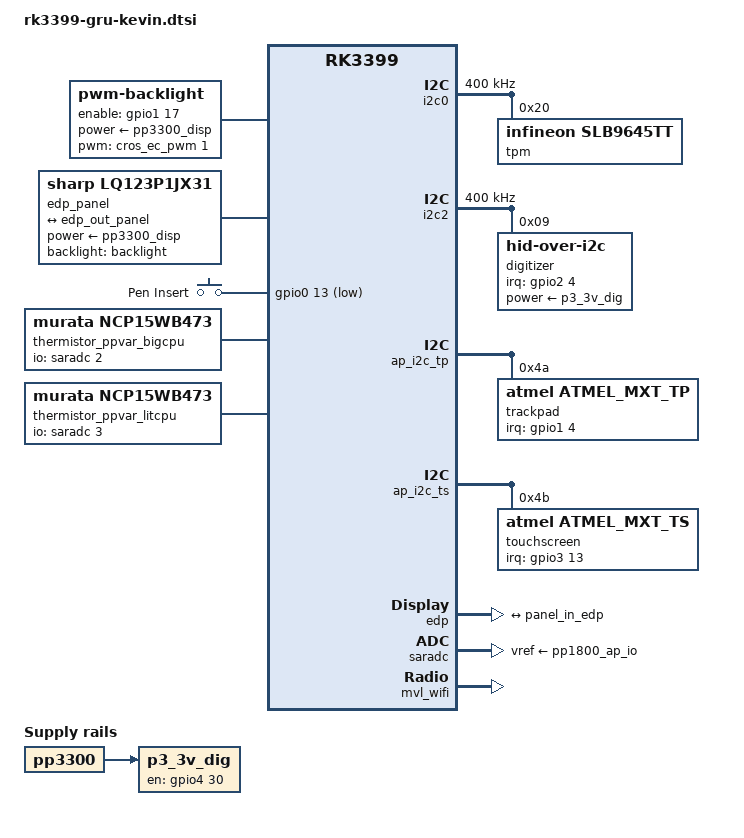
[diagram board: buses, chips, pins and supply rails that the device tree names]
/*
 * Google Gru-Kevin board device tree source
 *
 * Copyright 2016 Google, Inc
 *
 * This file should generally contain things related to the latest
 * revision of Kevin hardware that is not part of the gru base.
 * Revisions earlier than the latest should generally override
 * things that happen here on the presumption that support for
 * earlier versions will eventually be deleted.
 *
 * This file is dual-licensed: you can use it either under the terms
 * of the GPL or the X11 license, at your option. Note that this dual
 * licensing only applies to this file, and not this project as a
 * whole.
 *
 *  a) This file is free software; you can redistribute it and/or
 *     modify it under the terms of the GNU General Public License as
 *     published by the Free Software Foundation; either version 2 of the
 *     License, or (at your option) any later version.
 *
 *     This file is distributed in the hope that it will be useful,
 *     but WITHOUT ANY WARRANTY; without even the implied warranty of
 *     MERCHANTABILITY or FITNESS FOR A PARTICULAR PURPOSE.  See the
 *     GNU General Public License for more details.
 *
 *  Or, alternatively,
 *
 *  b) Permission is hereby granted, free of charge, to any person
 *     obtaining a copy of this software and associated documentation
 *     files (the "Software"), to deal in the Software without
 *     restriction, including without limitation the rights to use,
 *     copy, modify, merge, publish, distribute, sublicense, and/or
 *     sell copies of the Software, and to permit persons to whom the
 *     Software is furnished to do so, subject to the following
 *     conditions:
 *
 *     The above copyright notice and this permission notice shall be
 *     included in all copies or substantial portions of the Software.
 *
 *     THE SOFTWARE IS PROVIDED "AS IS", WITHOUT WARRANTY OF ANY KIND,
 *     EXPRESS OR IMPLIED, INCLUDING BUT NOT LIMITED TO THE WARRANTIES
 *     OF MERCHANTABILITY, FITNESS FOR A PARTICULAR PURPOSE AND
 *     NONINFRINGEMENT. IN NO EVENT SHALL THE AUTHORS OR COPYRIGHT
 *     HOLDERS BE LIABLE FOR ANY CLAIM, DAMAGES OR OTHER LIABILITY,
 *     WHETHER IN AN ACTION OF CONTRACT, TORT OR OTHERWISE, ARISING
 *     FROM, OUT OF OR IN CONNECTION WITH THE SOFTWARE OR THE USE OR
 *     OTHER DEALINGS IN THE SOFTWARE.
 */

#include "rk3399-gru.dtsi"
#include <include/dt-bindings/input/linux-event-codes.h>

/*
 * Kevin-specific things
 *
 * Things in this section should use names from Kevin schematic since no
 * equivalent exists in Gru schematic.  If referring to signals that exist
 * in Gru we use the Gru names, though.  Confusing enough for you?
 */

/ {
	/* Power tree */

	/* pp3300 children */

	p3_3v_dig: p3-3v-dig {
		compatible = "regulator-fixed";
		regulator-name = "p3.3v_dig";
		pinctrl-names = "default";
		pinctrl-0 = <&cpu3_pen_pwr_en>;

		/*
		 * Need to wait for regulators to ramp and for the digitizer
		 * firmware to initialize.
		 */
		regulator-enable-ramp-delay = <100000>;

		enable-active-high;
		gpio = <&gpio4 30 GPIO_ACTIVE_HIGH>;
		vin-supply = <&pp3300>;
	};

	/* END REGULATORS */

	backlight: backlight {
		compatible = "pwm-backlight";
		pwms = <&cros_ec_pwm 1>;
		brightness-levels-scale = <0x10000>;
		default-brightness-level = <0x828f>; /* arbitrary, ~51% */
		enable-gpios = <&gpio1 17 GPIO_ACTIVE_HIGH>;
		power-supply = <&pp3300_disp>;
		pinctrl-names = "default";
		pinctrl-0 = <&bl_en>;
		pwm-delay-us = <10000>;
	};

	edp_panel: edp-panel {
		compatible = "sharp,lq123p1jx31", "simple-panel";
		backlight = <&backlight>;
		power-supply = <&pp3300_disp>;

		ports {
			panel_in_edp: endpoint {
				remote-endpoint = <&edp_out_panel>;
			};
		};
	};

	gpio_keys: gpio-keys {
		compatible = "gpio-keys";
		#address-cells = <1>;
		#size-cells = <0>;
		pinctrl-names = "default";
		pinctrl-0 = <&cpu1_pen_eject>;

		pen-insert {
			label = "Pen Insert";

			/* Insert = low, eject = high */
			gpios = <&gpio0 13 GPIO_ACTIVE_LOW>;
			linux,code = <SW_PEN_INSERTED>;
			linux,input-type = <EV_SW>;
			wakeup-source;
		};
	};

	thermistor_ppvar_bigcpu: thermistor-ppvar-bigcpu {
		compatible = "murata,ncp15wb473";
		pullup-uv = <1800000>;
		pullup-ohm = <25500>;
		pulldown-ohm = <0>;
		io-channels = <&saradc 2>;
		#thermal-sensor-cells = <0>;
	};

	thermistor_ppvar_litcpu: thermistor-ppvar-litcpu {
		compatible = "murata,ncp15wb473";
		pullup-uv = <1800000>;
		pullup-ohm = <25500>;
		pulldown-ohm = <0>;
		io-channels = <&saradc 3>;
		#thermal-sensor-cells = <0>;
	};
};

&thermal_zones {
	bigcpu_reg_thermal: bigcpu-reg-thermal {
		polling-delay-passive = <100>; /* milliseconds */
		polling-delay = <1000>; /* milliseconds */
		thermal-sensors = <&thermistor_ppvar_bigcpu 0>;
		sustainable-power = <4000>;

		ppvar_bigcpu_trips: trips {
			ppvar_bigcpu_on: ppvar-bigcpu-on {
				temperature = <40000>;	/* millicelsius */
				hysteresis = <2000>;	/* millicelsius */
				type = "passive";
			};

			ppvar_bigcpu_alert: ppvar-bigcpu-alert {
				temperature = <50000>;	/* millicelsius */
				hysteresis = <2000>;	/* millicelsius */
				type = "passive";
			};

			ppvar_bigcpu_crit: ppvar-bigcpu-crit {
				temperature = <90000>;	/* millicelsius */
				hysteresis = <0>;	/* millicelsius */
				type = "critical";
			};
		};

		cooling-maps {
			map0 {
				trip = <&ppvar_bigcpu_alert>;
				cooling-device =
					<&cpu_l0 THERMAL_NO_LIMIT THERMAL_NO_LIMIT>;
				contribution = <4096>;
			};
			map1 {
				trip = <&ppvar_bigcpu_alert>;
				cooling-device =
					<&cpu_b0 THERMAL_NO_LIMIT THERMAL_NO_LIMIT>;
				contribution = <1024>;
			};
			map2 {
				trip = <&ppvar_bigcpu_alert>;
				cooling-device =
					<&gpu THERMAL_NO_LIMIT THERMAL_NO_LIMIT>;
				contribution = <4096>;
			};
		};
	};

	litcpu_reg_thermal: litcpu-reg-thermal {
		polling-delay-passive = <100>; /* milliseconds */
		polling-delay = <1000>; /* milliseconds */
		thermal-sensors = <&thermistor_ppvar_litcpu 0>;
		sustainable-power = <4000>;

		ppvar_litcpu_trips: trips {
			ppvar_litcpu_on: ppvar-litcpu-on {
				temperature = <40000>;	/* millicelsius */
				hysteresis = <2000>;	/* millicelsius */
				type = "passive";
			};

			ppvar_litcpu_alert: ppvar-litcpu-alert {
				temperature = <50000>;	/* millicelsius */
				hysteresis = <2000>;	/* millicelsius */
				type = "passive";
			};

			ppvar_litcpu_crit: ppvar-litcpu-crit {
				temperature = <90000>;	/* millicelsius */
				hysteresis = <0>;	/* millicelsius */
				type = "critical";
			};
		};
	};
};

ap_i2c_tpm: &i2c0 {
	status = "okay";

	clock-frequency = <400000>;

	/* These are relatively safe rise/fall times; TODO: measure */
	i2c-scl-falling-time-ns = <50>;
	i2c-scl-rising-time-ns = <300>;

	tpm: tpm@20 {
		compatible = "infineon,slb9645tt";
		reg = <0x20>;
		powered-while-suspended;
	};
};

ap_i2c_dig: &i2c2 {
	status = "okay";

	clock-frequency = <400000>;

	/* These are relatively safe rise/fall times; TODO: measure */
	i2c-scl-falling-time-ns = <50>;
	i2c-scl-rising-time-ns = <300>;

	digitizer: digitizer@9 {
		compatible = "hid-over-i2c";
		reg = <0x9>;
		pinctrl-names = "default";
		pinctrl-0 = <&cpu1_dig_irq_l &cpu1_dig_pdct_l>;

		power-supply = <&p3_3v_dig>;

		interrupt-parent = <&gpio2>;
		interrupts = <4 IRQ_TYPE_LEVEL_LOW>;

		hid-descr-addr = <0x1>;
	};
};

/* Adjustments to things in the gru baseboard */

&ap_i2c_tp {
	trackpad@4a {
		compatible = "atmel,atmel_mxt_tp";
		reg = <0x4a>;
		pinctrl-names = "default";
		pinctrl-0 = <&trackpad_int_l>;
		interrupt-parent = <&gpio1>;
		interrupts = <4 IRQ_TYPE_LEVEL_LOW>;
		wakeup-source;
	};
};

&ap_i2c_ts {
	touchscreen@4b {
		compatible = "atmel,atmel_mxt_ts";
		reg = <0x4b>;
		pinctrl-names = "default";
		pinctrl-0 = <&touch_int_l>;
		interrupt-parent = <&gpio3>;
		interrupts = <13 IRQ_TYPE_LEVEL_LOW>;
	};
};

&edp {
	status = "okay";

	ports {
		edp_out: port@1 {
			reg = <1>;
			#address-cells = <1>;
			#size-cells = <0>;

			edp_out_panel: endpoint@0 {
				reg = <0>;
				remote-endpoint = <&panel_in_edp>;
			};
		};
	};
};

&saradc {
	status = "okay";
	vref-supply = <&pp1800_ap_io>;
};

&mvl_wifi {
	marvell,wakeup-pin = <14>; /* GPIO_14 on Marvell */
};

/* PINCTRL: always below everything else */

&pinctrl {
	digitizer {
		/* Has external pullup */
		cpu1_dig_irq_l: cpu1-dig-irq-l {
			rockchip,pins = <2 4 RK_FUNC_GPIO &pcfg_pull_none>;
		};

		/* Has external pullup */
		cpu1_dig_pdct_l: cpu1-dig-pdct-l {
			rockchip,pins = <2 5 RK_FUNC_GPIO &pcfg_pull_none>;
		};
	};

	discrete-regulators {
		cpu3_pen_pwr_en: cpu3-pen-pwr-en {
			rockchip,pins = <4 30 RK_FUNC_GPIO &pcfg_pull_none>;
		};
	};

	pen {
		cpu1_pen_eject: cpu1-pen-eject {
			rockchip,pins = <0 13 RK_FUNC_GPIO &pcfg_pull_up>;
		};
	};
};

/* DON'T PUT ANYTHING BELOW HERE.  PUT IT ABOVE PINCTRL */
/* DON'T PUT ANYTHING BELOW HERE.  PUT IT ABOVE PINCTRL */
/* DON'T PUT ANYTHING BELOW HERE.  PUT IT ABOVE PINCTRL */
